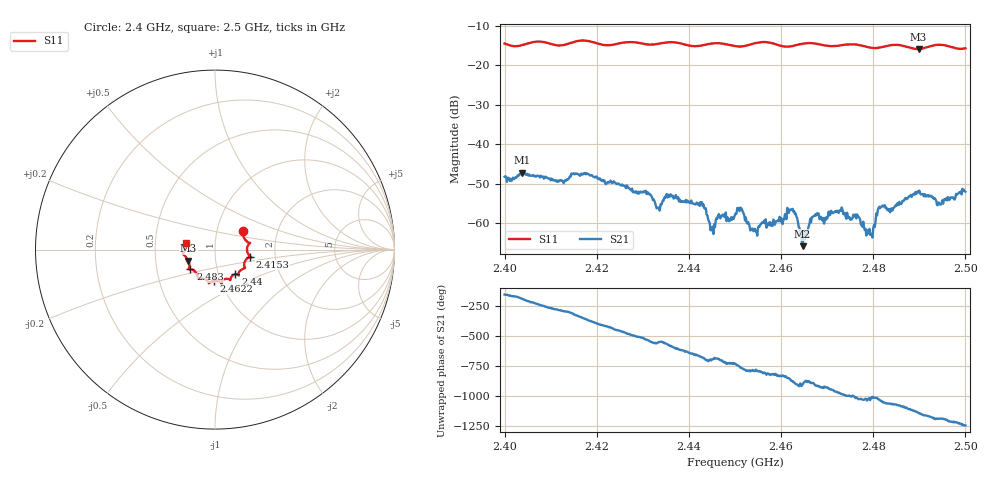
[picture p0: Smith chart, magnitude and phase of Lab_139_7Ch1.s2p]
# Hz S RI R 50
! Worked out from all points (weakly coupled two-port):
!   601 points, 2.4 GHz to 2.5 GHz, reference 50 ohm
!   highest |S21| = -47.21 dB at 2.4038 GHz (marker M1); lowest = -65.9 dB at 2.4647 GHz (marker M2)
!   lowest |S11| = -15.9 dB at 2.4898 GHz (marker M3), VSWR 1.38, Z = 36.8 - j4.62 ohm
!   |S11| at or under -10 dB: start of sweep to end of sweep
!   S12 and S22 are empty: the file has one direction only
!   S11 on the Smith chart (normalised r, x): 2.4 GHz: 1.33, +0.29; 2.4153 GHz: 1.48, -0.12; 2.44 GHz: 1.21, -0.34; 2.4622 GHz: 0.93, -0.33; 2.483 GHz: 0.74, -0.17; 2.5 GHz: 0.72, +0.06
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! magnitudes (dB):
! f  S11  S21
! 2.4 GHz  -14.5  -48.3
! 2.4038 GHz  -14.9  -47.2
! 2.4153 GHz  -14.0  -47.5
! 2.4167 GHz  -13.7  -47.5
! 2.4333 GHz  -14.6  -56.1
! 2.4355 GHz  -14.2  -52.8
! 2.44 GHz  -15.0  -54.7
! 2.443 GHz  -14.9  -55.7
! 2.4452 GHz  -14.5  -61.0
! 2.45 GHz  -15.1  -57.9
! 2.4543 GHz  -14.4  -61.5
! 2.4622 GHz  -15.2  -56.7
! 2.4647 GHz  -14.5  -65.9
! 2.4667 GHz  -14.4  -58.6
! 2.4732 GHz  -14.9  -56.1
! 2.4793 GHz  -15.5  -63.0
! 2.4815 GHz  -15.5  -56.2
! 2.483 GHz  -15.1  -56.7
! 2.4833 GHz  -15.0  -57.0
! 2.4898 GHz  -15.9  -52.3
! 2.4943 GHz  -14.8  -55.1
! 2.5 GHz  -15.7  -52.1
